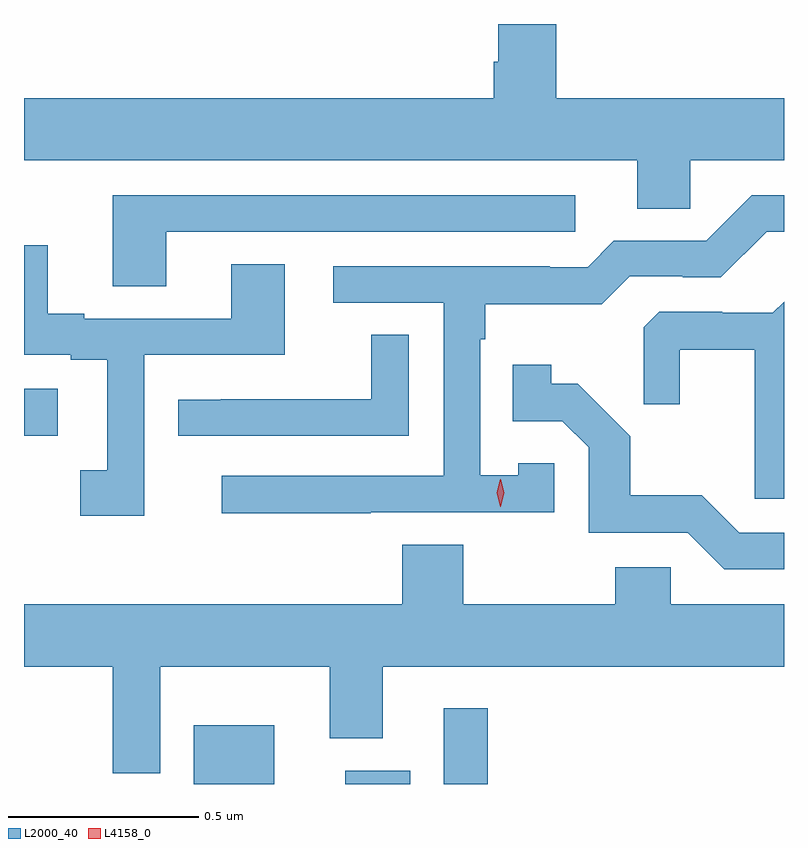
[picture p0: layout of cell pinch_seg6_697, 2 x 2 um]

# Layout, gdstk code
import gdstk
lib = gdstk.Library(unit=1e-6, precision=1e-09)
def R(c, l, rs):  # rectangles x0, y0, x1, y1
    for r in rs: c.add(gdstk.rectangle(r[:2], r[2:], *l))
def P(c, l, *ps):  # polygons
    for p in ps: c.add(gdstk.Polygon(p, *l))
L2000_40 = (2000, 40)
L4158_0 = (4158, 0)

pinch_seg6_697 = lib.new_cell('pinch_seg6_697')
R(pinch_seg6_697, L2000_40, [(467.948,947.027,468.16,947.182), (468.347,947.027,468.517,947.062), (468.606,947.027,468.722,947.227), (467.501,947.943,467.59,948.067)])
P(pinch_seg6_697, L2000_40, [(468.749,949.027),(468.749,948.928),(468.737,948.928),(468.737,948.832),(467.501,948.832),(467.501,948.668),(469.115,948.668),(469.115,948.541),(469.254,948.541),(469.254,948.668),(469.501,948.668),(469.501,948.832),(468.902,948.832),(468.902,949.027)],
  [(468.413,947.742),(468.897,947.742),(468.897,947.871),(468.801,947.871),(468.801,947.839),(468.702,947.839),(468.702,948.197),(468.715,948.197),(468.715,948.29),(469.022,948.29),(469.095,948.363),(469.234,948.363),(469.234,948.36),(469.335,948.36),(469.455,948.48),(469.501,948.48),(469.501,948.576),(469.416,948.576),(469.296,948.456),(469.053,948.456),(468.984,948.387),(468.884,948.387),(468.884,948.39),(468.315,948.39),(468.315,948.294),(468.606,948.294),(468.606,947.838),(468.021,947.838),(468.021,947.74),(468.413,947.74)],
  [(467.875,948.48),(468.952,948.48),(468.952,948.576),(467.735,948.576),(467.735,948.337),(467.875,948.337)],
  [(467.817,948.156),(468.187,948.156),(468.187,948.395),(468.047,948.395),(468.047,948.252),(467.659,948.252),(467.659,948.265),(467.563,948.265),(467.563,948.445),(467.501,948.445),(467.501,948.156),(467.624,948.156),(467.624,948.144),(467.72,948.144),(467.72,947.853),(467.649,947.853),(467.649,947.733),(467.817,947.733)],
  [(469.501,948.296),(469.472,948.267),(469.338,948.267),(469.338,948.27),(469.173,948.27),(469.132,948.229),(469.132,948.027),(469.226,948.027),(469.226,948.17),(469.424,948.17),(469.424,947.778),(469.501,947.778)],
  [(468.513,948.209),(468.415,948.209),(468.415,948.039),(468.019,948.039),(468.019,948.038),(467.907,948.038),(467.907,947.943),(468.513,947.943)],
  [(469.501,947.688),(469.383,947.688),(469.285,947.787),(469.096,947.787),(469.096,947.942),(468.958,948.08),(468.888,948.08),(468.888,948.13),(468.787,948.13),(468.787,947.982),(468.918,947.982),(468.987,947.913),(468.987,947.688),(469.248,947.688),(469.344,947.592),(469.501,947.592)],
  [(467.86,947.336),(468.305,947.336),(468.305,947.147),(468.445,947.147),(468.445,947.336),(469.501,947.336),(469.501,947.5),(469.203,947.5),(469.203,947.598),(469.057,947.598),(469.057,947.5),(468.657,947.5),(468.657,947.657),(468.497,947.657),(468.497,947.5),(467.501,947.5),(467.501,947.336),(467.735,947.336),(467.735,947.055),(467.86,947.055)])
P(pinch_seg6_697, L4158_0, [(468.754,947.757),(468.745,947.793),(468.754,947.829),(468.755,947.829),(468.755,947.829),(468.765,947.793),(468.755,947.757),(468.755,947.757)])

lib.write_gds('pinch_seg6_697.gds')
